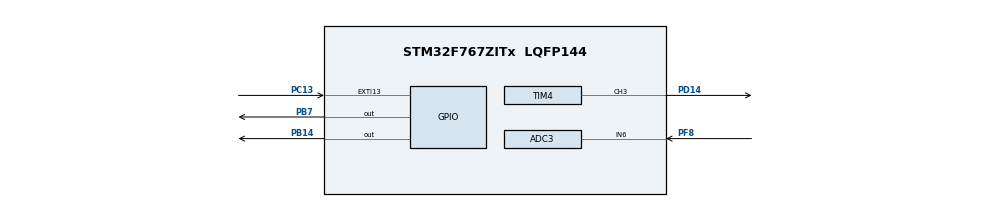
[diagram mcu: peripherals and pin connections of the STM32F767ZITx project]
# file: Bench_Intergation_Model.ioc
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ADC3.Channel-0\#ChannelRegularConversion=ADC_CHANNEL_6
ADC3.ContinuousConvMode=ENABLE
ADC3.DMAContinuousRequests=ENABLE
ADC3.EOCSelection=ADC_EOC_SINGLE_CONV
ADC3.InjNumberOfConversion=0
ADC3.NbrOfConversion=1
ADC3.NbrOfConversionFlag=1
ADC3.Rank-0\#ChannelRegularConversion=1
ADC3.SamplingTime-0\#ChannelRegularConversion=ADC_SAMPLETIME_480CYCLES
ADC3.ScanConvMode=ADC_SCAN_DISABLE
CORTEX_M7.default_mode_Activation=1
Dma.ADC3.0.Direction=DMA_PERIPH_TO_MEMORY
Dma.ADC3.0.FIFOMode=DMA_FIFOMODE_DISABLE
Dma.ADC3.0.Instance=DMA2_Stream0
Dma.ADC3.0.MemDataAlignment=DMA_MDATAALIGN_HALFWORD
Dma.ADC3.0.MemInc=DMA_MINC_ENABLE
Dma.ADC3.0.Mode=DMA_CIRCULAR
Dma.ADC3.0.PeriphDataAlignment=DMA_PDATAALIGN_HALFWORD
Dma.ADC3.0.PeriphInc=DMA_PINC_DISABLE
Dma.ADC3.0.Priority=DMA_PRIORITY_LOW
Dma.Request0=ADC3
Mcu.Family=STM32F7
Mcu.Name=STM32F767ZITx
Mcu.Package=LQFP144
NVIC.DMA2_Stream0_IRQn=true\:0\:0\:false\:false\:true\:false\:true\:true
NVIC.PriorityGroup=NVIC_PRIORITYGROUP_4
PB14.Signal=GPIO_Output
PB7.Signal=GPIO_Output
PC13.Signal=GPXTI13
PD14.Signal=S_TIM4_CH3
PD7.Signal=SPI1_MOSI
PF8.Mode=IN6
PF8.Signal=ADC3_IN6
ProjectManager.HeapSize=0x200
ProjectManager.StackSize=0x400
ProjectManager.TargetToolchain=STM32CubeIDE
RCC.HSE_VALUE=25000000
RCC.HSI_VALUE=16000000
RCC.LSE_VALUE=32768
RCC.USBFreq_Value=96000000
RCC.VCOOutputFreq_Value=192000000
SH.S_TIM4_CH3.0=TIM4_CH3,PWM Generation3 CH3
TIM4.Channel-PWM\ Generation3\ CH3=TIM_CHANNEL_3
TIM4.Period=1999
TIM4.Prescaler=15
TIM4.Pulse-PWM\ Generation3\ CH3=999
board=custom

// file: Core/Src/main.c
/* USER CODE BEGIN Header */
/**
  ******************************************************************************
  * @file           : main.c
  * @brief          : Main program body
  ******************************************************************************
  * @attention
  *
  * Copyright (c) 2026 STMicroelectronics.
  * All rights reserved.
  *
  * This software is licensed under terms that can be found in the LICENSE file
  * in the root directory of this software component.
  * If no LICENSE file comes with this software, it is provided AS-IS.
  *
  ******************************************************************************
  */
/* USER CODE END Header */
#include "main.h"

/* USER CODE BEGIN PD */
static uint8_t motor_offset = 0;
/* USER CODE END PD */

ADC_HandleTypeDef hadc3;
DMA_HandleTypeDef hdma_adc3;

TIM_HandleTypeDef htim4;

/* USER CODE BEGIN PV */
#define POT_SAMPLES 16
volatile uint16_t potBuf[POT_SAMPLES];
uint16_t potRaw;
/* USER CODE END PV */

void SystemClock_Config(void);
static void MPU_Config(void);
static void MX_GPIO_Init(void);
static void MX_DMA_Init(void);
static void MX_ADC3_Init(void);
static void MX_TIM4_Init(void);

/* USER CODE BEGIN 0 */
void toggle_motor_on_off(void){
	HAL_GPIO_WritePin(GPIOB, GPIO_PIN_14|GPIO_PIN_7, GPIO_PIN_RESET);
	if(motor_offset == 0){
		HAL_GPIO_WritePin(GPIOB, GPIO_PIN_14, GPIO_PIN_SET);
		motor_offset = 100;
	}else{

		HAL_GPIO_WritePin(GPIOB, GPIO_PIN_7, GPIO_PIN_SET);
		motor_offset = 0;
	}
}
/* USER CODE END 0 */

int main(void)
{

  /* MPU Configuration--------------------------------------------------------*/
  MPU_Config();

  /* MCU Configuration--------------------------------------------------------*/

  /* Reset of all peripherals, Initializes the Flash interface and the Systick. */
  HAL_Init();

  /* Configure the system clock */
  SystemClock_Config();

  /* Initialize all configured peripherals */
  MX_GPIO_Init();
  MX_DMA_Init();
  MX_ADC3_Init();
  MX_TIM4_Init();
  /* USER CODE BEGIN 2 */
  HAL_TIM_PWM_Start(&htim4, TIM_CHANNEL_3);
  HAL_ADC_Start_DMA(&hadc3, (uint32_t*)potBuf, POT_SAMPLES);
  float    potPercent;
  HAL_NVIC_SetPriority(EXTI15_10_IRQn, 0, 0);
  HAL_NVIC_EnableIRQ(EXTI15_10_IRQn);
  HAL_GPIO_WritePin(GPIOB, GPIO_PIN_7, GPIO_PIN_SET);
  /* USER CODE END 2 */

  /* Infinite loop */
  while (1)
  {
	  uint32_t sum = 0;
	  for (int i = 0; i < POT_SAMPLES; i++) sum += potBuf[i];
	  potRaw = sum / POT_SAMPLES;
	  potPercent = (potRaw * 100.0f) / 4095.0f;
	  if (motor_offset ==0){
		  potPercent = 0;
	  }
	  __HAL_TIM_SET_COMPARE(&htim4, TIM_CHANNEL_3, (1000+motor_offset)+(840*(potPercent/100)));
	  HAL_Delay(10);
  }
}

void SystemClock_Config(void)
{
  RCC_OscInitTypeDef RCC_OscInitStruct = {0};
  RCC_ClkInitTypeDef RCC_ClkInitStruct = {0};

  /** Configure the main internal regulator output voltage
  */
  __HAL_RCC_PWR_CLK_ENABLE();
  __HAL_PWR_VOLTAGESCALING_CONFIG(PWR_REGULATOR_VOLTAGE_SCALE3);

  /** Initializes the RCC Oscillators according to the specified parameters
  * in the RCC_OscInitTypeDef structure.
  */
  RCC_OscInitStruct.OscillatorType = RCC_OSCILLATORTYPE_HSI;
  RCC_OscInitStruct.HSIState = RCC_HSI_ON;
  RCC_OscInitStruct.HSICalibrationValue = RCC_HSICALIBRATION_DEFAULT;
  RCC_OscInitStruct.PLL.PLLState = RCC_PLL_NONE;
  if (HAL_RCC_OscConfig(&RCC_OscInitStruct) != HAL_OK)
  {
    Error_Handler();
  }

  /** Initializes the CPU, AHB and APB buses clocks
  */
  RCC_ClkInitStruct.ClockType = RCC_CLOCKTYPE_HCLK|RCC_CLOCKTYPE_SYSCLK
                              |RCC_CLOCKTYPE_PCLK1|RCC_CLOCKTYPE_PCLK2;
  RCC_ClkInitStruct.SYSCLKSource = RCC_SYSCLKSOURCE_HSI;
  RCC_ClkInitStruct.AHBCLKDivider = RCC_SYSCLK_DIV1;
  RCC_ClkInitStruct.APB1CLKDivider = RCC_HCLK_DIV1;
  RCC_ClkInitStruct.APB2CLKDivider = RCC_HCLK_DIV1;

  if (HAL_RCC_ClockConfig(&RCC_ClkInitStruct, FLASH_LATENCY_0) != HAL_OK)
  {
    Error_Handler();
  }
}

static void MX_ADC3_Init(void)
{

  ADC_ChannelConfTypeDef sConfig = {0};

  /** Configure the global features of the ADC (Clock, Resolution, Data Alignment and number of conversion)
  */
  hadc3.Instance = ADC3;
  hadc3.Init.ClockPrescaler = ADC_CLOCK_SYNC_PCLK_DIV2;
  hadc3.Init.Resolution = ADC_RESOLUTION_12B;
  hadc3.Init.ScanConvMode = ADC_SCAN_DISABLE;
  hadc3.Init.ContinuousConvMode = ENABLE;
  hadc3.Init.DiscontinuousConvMode = DISABLE;
  hadc3.Init.ExternalTrigConvEdge = ADC_EXTERNALTRIGCONVEDGE_NONE;
  hadc3.Init.ExternalTrigConv = ADC_SOFTWARE_START;
  hadc3.Init.DataAlign = ADC_DATAALIGN_RIGHT;
  hadc3.Init.NbrOfConversion = 1;
  hadc3.Init.DMAContinuousRequests = ENABLE;
  hadc3.Init.EOCSelection = ADC_EOC_SINGLE_CONV;
  if (HAL_ADC_Init(&hadc3) != HAL_OK)
  {
    Error_Handler();
  }

  /** Configure for the selected ADC regular channel its corresponding rank in the sequencer and its sample time.
  */
  sConfig.Channel = ADC_CHANNEL_6;
  sConfig.Rank = ADC_REGULAR_RANK_1;
  sConfig.SamplingTime = ADC_SAMPLETIME_480CYCLES;
  if (HAL_ADC_ConfigChannel(&hadc3, &sConfig) != HAL_OK)
  {
    Error_Handler();
  }

}

static void MX_TIM4_Init(void)
{

  TIM_MasterConfigTypeDef sMasterConfig = {0};
  TIM_OC_InitTypeDef sConfigOC = {0};

  htim4.Instance = TIM4;
  htim4.Init.Prescaler = 15;
  htim4.Init.CounterMode = TIM_COUNTERMODE_UP;
  htim4.Init.Period = 1999;
  htim4.Init.ClockDivision = TIM_CLOCKDIVISION_DIV1;
  htim4.Init.AutoReloadPreload = TIM_AUTORELOAD_PRELOAD_DISABLE;
  if (HAL_TIM_PWM_Init(&htim4) != HAL_OK)
  {
    Error_Handler();
  }
  sMasterConfig.MasterOutputTrigger = TIM_TRGO_RESET;
  sMasterConfig.MasterSlaveMode = TIM_MASTERSLAVEMODE_DISABLE;
  if (HAL_TIMEx_MasterConfigSynchronization(&htim4, &sMasterConfig) != HAL_OK)
  {
    Error_Handler();
  }
  sConfigOC.OCMode = TIM_OCMODE_PWM1;
  sConfigOC.Pulse = 999;
  sConfigOC.OCPolarity = TIM_OCPOLARITY_HIGH;
  sConfigOC.OCFastMode = TIM_OCFAST_DISABLE;
  if (HAL_TIM_PWM_ConfigChannel(&htim4, &sConfigOC, TIM_CHANNEL_3) != HAL_OK)
  {
    Error_Handler();
  }
  HAL_TIM_MspPostInit(&htim4);

}

static void MX_DMA_Init(void)
{

  /* DMA controller clock enable */
  __HAL_RCC_DMA2_CLK_ENABLE();

  /* DMA interrupt init */
  /* DMA2_Stream0_IRQn interrupt configuration */
  HAL_NVIC_SetPriority(DMA2_Stream0_IRQn, 0, 0);
  HAL_NVIC_EnableIRQ(DMA2_Stream0_IRQn);

}

static void MX_GPIO_Init(void)
{
  GPIO_InitTypeDef GPIO_InitStruct = {0};

  /* GPIO Ports Clock Enable */
  __HAL_RCC_GPIOC_CLK_ENABLE();
  __HAL_RCC_GPIOF_CLK_ENABLE();
  __HAL_RCC_GPIOB_CLK_ENABLE();
  __HAL_RCC_GPIOD_CLK_ENABLE();

  /*Configure GPIO pin Output Level */
  HAL_GPIO_WritePin(GPIOB, GPIO_PIN_14|GPIO_PIN_7, GPIO_PIN_RESET);

  /*Configure GPIO pin : PC13 */
  GPIO_InitStruct.Pin = GPIO_PIN_13;
  GPIO_InitStruct.Mode = GPIO_MODE_IT_FALLING;
  GPIO_InitStruct.Pull = GPIO_PULLDOWN;
  HAL_GPIO_Init(GPIOC, &GPIO_InitStruct);

  /*Configure GPIO pins : PB14 PB7 */
  GPIO_InitStruct.Pin = GPIO_PIN_14|GPIO_PIN_7;
  GPIO_InitStruct.Mode = GPIO_MODE_OUTPUT_PP;
  GPIO_InitStruct.Pull = GPIO_NOPULL;
  GPIO_InitStruct.Speed = GPIO_SPEED_FREQ_LOW;
  HAL_GPIO_Init(GPIOB, &GPIO_InitStruct);

  /*Configure GPIO pin : PD7 */
  GPIO_InitStruct.Pin = GPIO_PIN_7;
  GPIO_InitStruct.Mode = GPIO_MODE_AF_PP;
  GPIO_InitStruct.Pull = GPIO_NOPULL;
  GPIO_InitStruct.Speed = GPIO_SPEED_FREQ_VERY_HIGH;
  GPIO_InitStruct.Alternate = GPIO_AF5_SPI1;
  HAL_GPIO_Init(GPIOD, &GPIO_InitStruct);

}

/* USER CODE BEGIN 4 */
void HAL_GPIO_EXTI_Callback(uint16_t GPIO_Pin)
{
  if (GPIO_Pin == GPIO_PIN_13) {
    static uint32_t last = 0;
    uint32_t now = HAL_GetTick();
    if (now - last > 10) {
      last = now;
      toggle_motor_on_off();
    }
  }
}
/* USER CODE END 4 */

 /* MPU Configuration */

void MPU_Config(void)
{
  MPU_Region_InitTypeDef MPU_InitStruct = {0};

  /* Disables the MPU */
  HAL_MPU_Disable();

  /** Initializes and configures the Region and the memory to be protected
  */
  MPU_InitStruct.Enable = MPU_REGION_ENABLE;
  MPU_InitStruct.Number = MPU_REGION_NUMBER0;
  MPU_InitStruct.BaseAddress = 0x0;
  MPU_InitStruct.Size = MPU_REGION_SIZE_4GB;
  MPU_InitStruct.SubRegionDisable = 0x87;
  MPU_InitStruct.TypeExtField = MPU_TEX_LEVEL0;
  MPU_InitStruct.AccessPermission = MPU_REGION_NO_ACCESS;
  MPU_InitStruct.DisableExec = MPU_INSTRUCTION_ACCESS_DISABLE;
  MPU_InitStruct.IsShareable = MPU_ACCESS_SHAREABLE;
  MPU_InitStruct.IsCacheable = MPU_ACCESS_NOT_CACHEABLE;
  MPU_InitStruct.IsBufferable = MPU_ACCESS_NOT_BUFFERABLE;

  HAL_MPU_ConfigRegion(&MPU_InitStruct);
  /* Enables the MPU */
  HAL_MPU_Enable(MPU_PRIVILEGED_DEFAULT);

}

void Error_Handler(void)
{
  __disable_irq();
  while (1)
  {
  }
}
